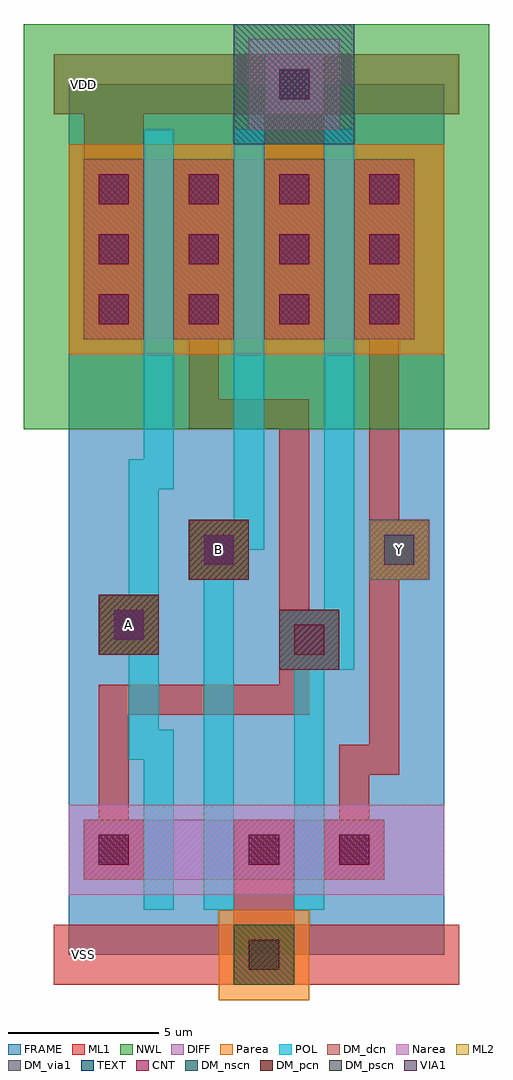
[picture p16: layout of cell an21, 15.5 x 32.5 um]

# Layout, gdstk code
import gdstk
lib = gdstk.Library(unit=1e-6, precision=1e-09)
def R(c, l, rs):  # rectangles x0, y0, x1, y1
    for r in rs: c.add(gdstk.rectangle(r[:2], r[2:], *l))
NWL = (1, 0)
DIFF = (3, 0)
POL = (5, 0)
CNT = (7, 0)
ML1 = (8, 0)
VIA1 = (9, 0)
ML2 = (10, 0)
TEXT = (13, 0)
FRAME = (14, 0)
Parea = (18, 0)
Narea = (19, 0)
DM_dcn = (101, 0)
DM_pcn = (102, 0)
DM_nscn = (103, 0)
DM_pscn = (104, 0)
DM_via1 = (105, 0)

dcont = lib.new_cell('dcont')
R(dcont, DIFF, [(-1,-1,1,1)])
R(dcont, CNT, [(-0.5,-0.5,0.5,0.5)])
R(dcont, ML1, [(-1,-1,1,1)])
R(dcont, TEXT, [(-0.5,-0.5,0.5,0.5)])
R(dcont, DM_dcn, [(-1,-1,1,1)])
dcont.add(gdstk.Label('dcont', (0,0), layer=13, texttype=0))

pcont = lib.new_cell('pcont')
R(pcont, POL, [(-1,-1,1,1)])
R(pcont, CNT, [(-0.5,-0.5,0.5,0.5)])
R(pcont, ML1, [(-1,-1,1,1)])
R(pcont, DM_pcn, [(-1,-1,1,1)])
pcont.add(gdstk.Label('pcont', (0,0), layer=13, texttype=0))

via = lib.new_cell('Via')
R(via, ML1, [(-1,-1,1,1)])
R(via, VIA1, [(-0.5,-0.5,0.5,0.5)])
R(via, ML2, [(-1,-1,1,1)])
R(via, TEXT, [(-0.5,-0.5,0.5,0.5)])
R(via, DM_via1, [(-1,-1,1,1)])
via.add(gdstk.Label('via', (0,0), layer=13, texttype=0))

psubcont = lib.new_cell('psubcont')
R(psubcont, Parea, [(-1.5,-1.5,1.5,1.5)])
R(psubcont, DM_pscn, [(-1,-1,1,1)])
psubcont.add(gdstk.Reference(dcont, (0,0)))
psubcont.add(gdstk.Label('PScon', (0,0), layer=13, texttype=0))

nsubcont = lib.new_cell('nsubcont')
R(nsubcont, NWL, [(-2,-2,2,2)])
R(nsubcont, Narea, [(-1.5,-1.5,1.5,1.5)])
R(nsubcont, DM_nscn, [(-2,-2,2,2)])
nsubcont.add(gdstk.Reference(dcont, (0,0)))
nsubcont.add(gdstk.Label('NScont', (0,0), layer=13, texttype=0))

an21 = lib.new_cell('an21')
R(an21, NWL, [(-1.5,17.5,14,31)])
R(an21, DIFF, [(0.5,2.5,10.5,4.5), (0.5,20.5,11.5,26.5)])
R(an21, ML1, [(-0.5,-1,13,1), (1,10,3,12), (4,12.5,6,14.5), (10,12.5,12,14.5), (-0.5,28,13,30)])
R(an21, ML2, [(1,10,3,12), (4,12.5,6,14.5), (10,12.5,12,14.5)])
R(an21, FRAME, [(0,0,12.5,29)])
R(an21, Parea, [(0,20,12.5,27)])
R(an21, Narea, [(0,2,12.5,5)])
R(an21, DM_via1, [(1,10,3,12), (4,12.5,6,14.5), (10,12.5,12,14.5)])
an21.add(gdstk.FlexPath([(3,27),(3,16),(2.5,16),(2.5,7),(3,7),(3,2)], 1, ends="extended", simple_path=True, layer=5, datatype=0))  # POL
an21.add(gdstk.FlexPath([(6,27),(6,14),(5,14),(5,2)], 1, ends="extended", simple_path=True, layer=5, datatype=0))  # POL
an21.add(gdstk.FlexPath([(9,27),(9,10),(8,10),(8,2)], 1, ends="extended", simple_path=True, layer=5, datatype=0))  # POL
an21.add(gdstk.FlexPath([(1.5,21.5),(1.5,28.5)], 2, ends="extended", simple_path=True, layer=8, datatype=0))  # ML1
an21.add(gdstk.FlexPath([(4.5,20.5),(4.5,18),(7.5,18),(7.5,8.5),(1.5,8.5),(1.5,3.5)], 1, ends="extended", simple_path=True, layer=8, datatype=0))  # ML1
an21.add(gdstk.FlexPath([(4.5,22.3),(4.5,25.5)], 1.4, ends="extended", simple_path=True, layer=8, datatype=0))  # ML1
an21.add(gdstk.FlexPath([(6.5,0),(6.5,3.5)], 2, ends="extended", simple_path=True, layer=8, datatype=0))  # ML1
an21.add(gdstk.FlexPath([(7.5,21.5),(7.5,28.5)], 2, ends="extended", simple_path=True, layer=8, datatype=0))  # ML1
an21.add(gdstk.FlexPath([(10.5,20.5),(10.5,6.5),(9.5,6.5),(9.5,3.5)], 1, ends="extended", simple_path=True, layer=8, datatype=0))  # ML1
an21.add(gdstk.FlexPath([(10.5,22.3),(10.5,25.5)], 1.4, ends="extended", simple_path=True, layer=8, datatype=0))  # ML1
an21.add(gdstk.Reference(dcont, (4.5,21.5)))
an21.add(gdstk.Reference(dcont, (1.5,23.5)))
an21.add(gdstk.Reference(pcont, (5,13.5)))
an21.add(gdstk.Reference(pcont, (2,11)))
an21.add(gdstk.Reference(dcont, (4.5,23.5)))
an21.add(gdstk.Reference(via, (5,13.5)))
an21.add(gdstk.Reference(pcont, (8,10.5)))
an21.add(gdstk.Reference(dcont, (7.5,21.5)))
an21.add(gdstk.Reference(dcont, (10.5,23.5)))
an21.add(gdstk.Reference(dcont, (1.5,3.5)))
an21.add(gdstk.Reference(psubcont, (6.5,0)))
an21.add(gdstk.Reference(via, (2,11)))
an21.add(gdstk.Reference(dcont, (10.5,25.5)))
an21.add(gdstk.Reference(dcont, (6.5,3.5)))
an21.add(gdstk.Reference(dcont, (1.5,21.5)))
an21.add(gdstk.Reference(dcont, (7.5,25.5)))
an21.add(gdstk.Reference(dcont, (1.5,25.5)))
an21.add(gdstk.Reference(via, (11,13.5)))
an21.add(gdstk.Reference(nsubcont, (7.5,29)))
an21.add(gdstk.Reference(dcont, (10.5,21.5)))
an21.add(gdstk.Reference(dcont, (4.5,25.5)))
an21.add(gdstk.Reference(dcont, (7.5,23.5)))
an21.add(gdstk.Reference(dcont, (9.5,3.5)))
an21.add(gdstk.Label('VSS', (0.5,0), layer=8, texttype=0))
an21.add(gdstk.Label('VDD', (0.5,29), layer=8, texttype=0))
an21.add(gdstk.Label('A', (2,11), layer=10, texttype=0))
an21.add(gdstk.Label('B', (5,13.5), layer=10, texttype=0))
an21.add(gdstk.Label('Y', (11,13.5), layer=10, texttype=0))
an21.add(gdstk.Label('via', (11,13.5), layer=13, texttype=0))
an21.add(gdstk.Label('via', (5,13.5), layer=13, texttype=0))
an21.add(gdstk.Label('via', (2,11), layer=13, texttype=0))

lib.write_gds('an21.gds')
